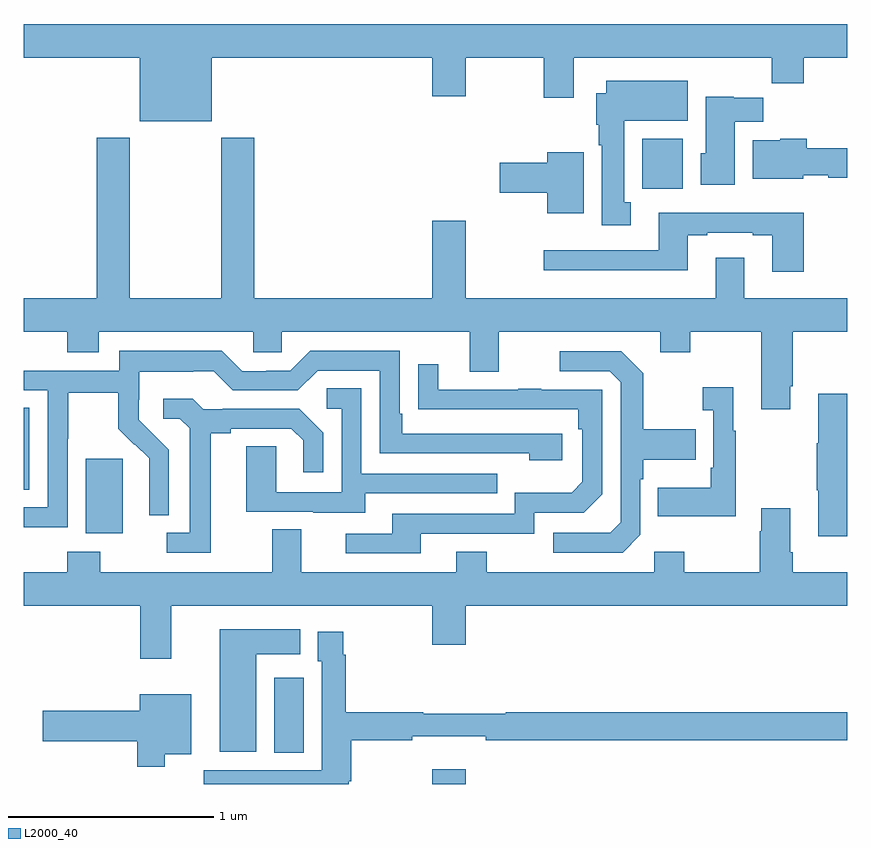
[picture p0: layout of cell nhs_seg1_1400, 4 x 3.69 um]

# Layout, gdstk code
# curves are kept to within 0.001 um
import gdstk
lib = gdstk.Library(unit=1e-6, precision=1e-09)
def R(c, l, rs):  # rectangles x0, y0, x1, y1
    for r in rs: c.add(gdstk.rectangle(r[:2], r[2:], *l))
def P(c, l, *ps):  # polygons
    for p in ps: c.add(gdstk.Polygon(p, *l))
L2000_40 = (2000, 40)

nhs_seg1_1400 = lib.new_cell('nhs_seg1_1400')
R(nhs_seg1_1400, L2000_40, [(188.984,552.199,189.148,552.271), (188.216,552.352,188.359,552.715), (187.301,553.418,187.48,553.779), (187,553.63,187.027,554.027), (190.004,555.092,190.201,555.334)])
P(nhs_seg1_1400, L2000_40, [(187.912,555.728),(188.984,555.728),(188.984,555.54),(189.148,555.54),(189.148,555.728),(189.526,555.728),(189.526,555.534),(189.673,555.534),(189.673,555.728),(190.633,555.728),(190.633,555.604),(190.79,555.604),(190.79,555.728),(191,555.728),(191,555.892),(187,555.892),(187,555.728),(187.562,555.728),(187.562,555.419),(187.912,555.419)],
  [(189.949,555.026),(189.916,555.026),(189.916,555.422),(190.225,555.422),(190.225,555.616),(189.83,555.616),(189.83,555.556),(189.782,555.556),(189.782,555.402),(189.794,555.402),(189.794,555.302),(189.809,555.302),(189.809,554.913),(189.949,554.913)],
  [(190.453,555.416),(190.592,555.416),(190.592,555.534),(190.449,555.534),(190.449,555.538),(190.313,555.538),(190.313,555.264),(190.289,555.264),(190.289,555.11),(190.453,555.11)],
  [(190.723,554.131),(190.736,554.131),(190.736,554.396),(191,554.396),(191,554.56),(190.501,554.56),(190.501,554.755),(190.361,554.755),(190.361,554.56),(189.148,554.56),(189.148,554.935),(188.984,554.935),(188.984,554.56),(188.12,554.56),(188.12,555.34),(187.96,555.34),(187.96,554.56),(187.515,554.56),(187.515,555.34),(187.355,555.34),(187.355,554.56),(187,554.56),(187,554.396),(187.211,554.396),(187.211,554.297),(187.363,554.297),(187.363,554.396),(188.115,554.396),(188.115,554.298),(188.253,554.298),(188.253,554.396),(189.167,554.396),(189.167,554.202),(189.307,554.202),(189.307,554.396),(190.091,554.396),(190.091,554.297),(190.239,554.297),(190.239,554.396),(190.583,554.396),(190.583,554.019),(190.723,554.019)],
  [(190.788,555.158),(190.908,555.158),(190.908,555.146),(191,555.146),(191,555.288),(190.805,555.288),(190.805,555.334),(190.674,555.334),(190.674,555.328),(190.541,555.328),(190.541,555.14),(190.788,555.14)],
  [(189.721,555.268),(189.542,555.268),(189.542,555.218),(189.312,555.218),(189.312,555.071),(189.542,555.071),(189.542,554.972),(189.721,554.972)],
  [(190.79,554.974),(190.085,554.974),(190.085,554.793),(189.525,554.793),(189.525,554.696),(190.225,554.696),(190.225,554.865),(190.321,554.865),(190.321,554.877),(190.541,554.877),(190.541,554.865),(190.637,554.865),(190.637,554.688),(190.79,554.688)],
  [(187.212,553.876),(187.215,553.876),(187.215,554.1),(187.459,554.1),(187.459,553.925),(187.536,553.848),(187.539,553.851),(187.61,553.781),(187.61,553.658),(187.608,553.658),(187.608,553.504),(187.704,553.504),(187.704,553.822),(187.558,553.97),(187.558,554.067),(187.56,554.067),(187.56,554.201),(187.823,554.201),(187.823,554.205),(187.923,554.205),(188.016,554.112),(188.331,554.112),(188.427,554.208),(188.73,554.208),(188.73,553.806),(189.455,553.806),(189.455,553.772),(189.616,553.772),(189.616,553.902),(188.839,553.902),(188.839,553.999),(188.826,553.999),(188.826,554.304),(188.391,554.304),(188.295,554.208),(188.177,554.208),(188.177,554.205),(188.061,554.205),(187.961,554.305),(187.464,554.305),(187.464,554.208),(187,554.208),(187,554.112),(187.116,554.112),(187.116,553.545),(187,553.545),(187,553.447),(187.212,553.447)],
  [(189.996,553.41),(189.996,553.679),(190.009,553.679),(190.009,553.775),(190.265,553.775),(190.265,553.923),(190.009,553.923),(190.009,554.195),(189.903,554.301),(189.603,554.301),(189.603,554.205),(189.846,554.205),(189.9,554.151),(189.9,553.47),(189.849,553.419),(189.573,553.419),(189.573,553.323),(189.909,553.323)],
  [(188.929,553.416),(189.48,553.416),(189.48,553.518),(189.72,553.518),(189.81,553.608),(189.81,554.115),(189.515,554.115),(189.515,554.12),(189.403,554.12),(189.403,554.115),(189.013,554.115),(189.013,554.239),(188.917,554.239),(188.917,554.02),(189.694,554.019),(189.694,553.922),(189.714,553.922),(189.714,553.668),(189.661,553.615),(189.384,553.615),(189.384,553.512),(188.789,553.512),(188.789,553.416),(188.565,553.416),(188.565,553.32),(188.929,553.32)],
  [(190.459,553.915),(190.447,553.915),(190.447,554.128),(190.299,554.128),(190.299,554.015),(190.35,554.015),(190.35,553.735),(190.338,553.735),(190.338,553.639),(190.081,553.639),(190.081,553.499),(190.459,553.499)],
  [(188.659,553.611),(189.299,553.611),(189.299,553.707),(188.64,553.707),(188.64,554.123),(188.472,554.123),(188.472,554.022),(188.544,554.022),(188.544,553.617),(188.226,553.617),(188.226,553.841),(188.081,553.841),(188.081,553.521),(188.405,553.521),(188.405,553.517),(188.659,553.517)],
  [(191,554.095),(190.859,554.095),(190.859,553.855),(190.852,553.855),(190.852,553.627),(190.859,553.627),(190.859,553.404),(191,553.404)],
  [(187.909,553.904),(188.005,553.904),(188.005,553.926),(188.3,553.926),(188.357,553.869),(188.357,553.713),(188.454,553.713),(188.454,553.906),(188.338,554.022),(187.966,554.022),(187.966,554.019),(187.872,554.019),(187.82,554.071),(187.677,554.071),(187.677,553.974),(187.758,553.974),(187.805,553.927),(187.805,553.419),(187.695,553.419),(187.695,553.323),(187.909,553.323)],
  [(187.717,553.064),(188.984,553.064),(188.984,552.876),(189.148,552.876),(189.148,553.064),(191,553.064),(191,553.228),(190.736,553.228),(190.736,553.324),(190.723,553.324),(190.723,553.54),(190.583,553.54),(190.583,553.427),(190.576,553.427),(190.576,553.228),(190.209,553.228),(190.209,553.327),(190.062,553.327),(190.062,553.228),(189.249,553.228),(189.249,553.327),(189.101,553.327),(189.101,553.228),(188.347,553.228),(188.347,553.436),(188.207,553.436),(188.207,553.228),(187.371,553.228),(187.371,553.327),(187.211,553.327),(187.211,553.228),(187,553.228),(187,553.064),(187.565,553.064),(187.565,552.807),(187.717,552.807)],
  [(188.128,552.83),(188.344,552.83),(188.344,552.952),(187.952,552.952),(187.952,552.356),(188.128,552.356)],
  [(188.578,552.213),(188.591,552.213),(188.591,552.412),(188.888,552.412),(188.888,552.431),(189.244,552.431),(189.244,552.412),(191,552.412),(191,552.548),(189.341,552.548),(189.341,552.541),(188.941,552.541),(188.941,552.548),(188.564,552.548),(188.564,552.827),(188.552,552.827),(188.552,552.94),(188.429,552.94),(188.429,552.795),(188.448,552.795),(188.448,552.267),(187.874,552.267),(187.874,552.199),(188.578,552.199)],
  [(187.684,552.344),(187.813,552.344),(187.813,552.634),(187.562,552.634),(187.562,552.554),(187.092,552.554),(187.092,552.407),(187.55,552.407),(187.55,552.282),(187.684,552.282)])

lib.write_gds('nhs_seg1_1400.gds')
